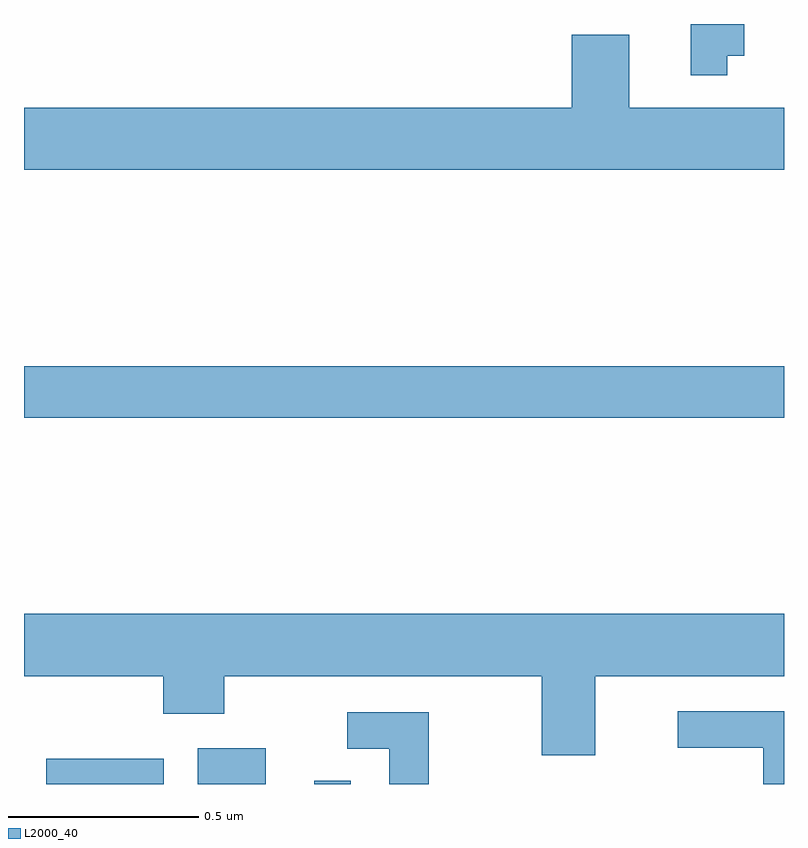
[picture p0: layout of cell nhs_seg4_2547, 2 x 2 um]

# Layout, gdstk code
import gdstk
lib = gdstk.Library(unit=1e-6, precision=1e-09)
def R(c, l, rs):  # rectangles x0, y0, x1, y1
    for r in rs: c.add(gdstk.rectangle(r[:2], r[2:], *l))
def P(c, l, *ps):  # polygons
    for p in ps: c.add(gdstk.Polygon(p, *l))
L2000_40 = (2000, 40)

nhs_seg4_2547 = lib.new_cell('nhs_seg4_2547')
R(nhs_seg4_2547, L2000_40, [(142.059,765.9,142.368,765.966), (142.457,765.9,142.636,765.994), (142.764,765.9,142.86,765.908), (142,766.864,144,767)])
P(nhs_seg4_2547, L2000_40, [(143.851,767.816),(143.896,767.816),(143.896,767.9),(143.754,767.9),(143.754,767.765),(143.851,767.765)],
  [(144,767.68),(143.593,767.68),(143.593,767.872),(143.441,767.872),(143.441,767.68),(142,767.68),(142,767.516),(144,767.516)],
  [(143.503,766.184),(144,766.184),(144,766.348),(142,766.348),(142,766.184),(142.367,766.184),(142.367,766.085),(142.527,766.085),(142.527,766.184),(143.363,766.184),(143.363,765.976),(143.503,765.976)],
  [(144,766.092),(143.721,766.092),(143.721,765.996),(143.945,765.996),(143.945,765.9),(144,765.9)],
  [(143.065,766.089),(142.851,766.089),(142.851,765.993),(142.961,765.993),(142.961,765.9),(143.065,765.9)])

lib.write_gds('nhs_seg4_2547.gds')
